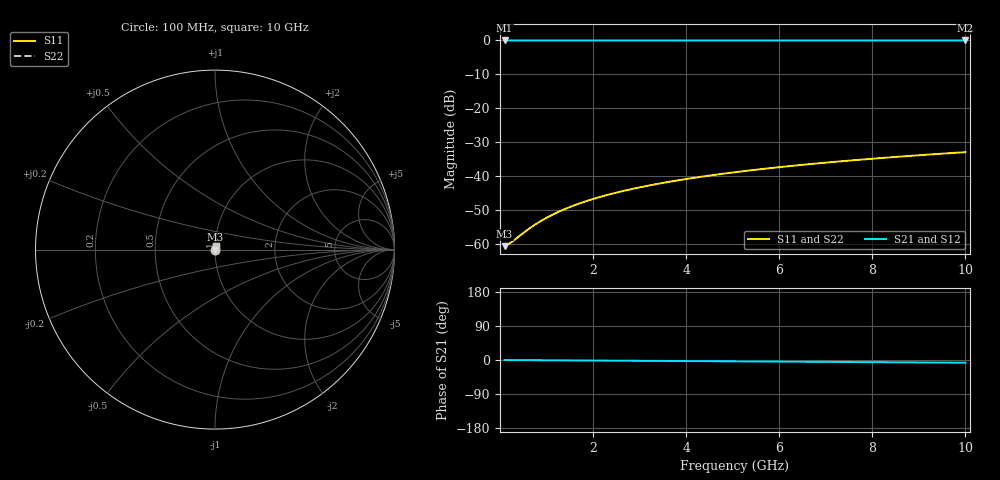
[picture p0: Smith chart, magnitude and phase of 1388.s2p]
# Hz S RI R 50.00
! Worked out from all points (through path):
!   100 points, 100 MHz to 10 GHz, reference 50 ohm
!   highest |S21| = -0.01 dB at 100 MHz (marker M1); lowest = 0.0 dB at 10 GHz (marker M2)
!   lowest |S11| = -60.5 dB at 100 MHz (marker M3), VSWR 1.00, Z = 50.1 + j0.0227 ohm
!   |S11| at or under -10 dB: start of sweep to end of sweep
!   |S22| runs from -60.5 to -32.9 dB; largest |S21 - S12| = 0
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1e8  0.000914 0.000227  0.9991 -0.00124  0.9991 -0.00124  0.000914 0.000227
2e8  0.000921 0.000453  0.9991 -0.00247  0.9991 -0.00247  0.000921 0.000453
3e8  0.000926 0.00068  0.9991 -0.00371  0.9991 -0.00371  0.000926 0.00068
6e8  0.000942 0.00136  0.999 -0.00741  0.999 -0.00741  0.000942 0.00136
7e8  0.000947 0.00159  0.999 -0.00865  0.999 -0.00865  0.000947 0.00159
8e8  0.000954 0.00181  0.999 -0.00988  0.999 -0.00988  0.000954 0.00181
1e9  0.000967 0.00227  0.999 -0.0124  0.999 -0.0124  0.000967 0.00227
1.2e9  0.000982 0.00272  0.9989 -0.0148  0.9989 -0.0148  0.000982 0.00272
1.4e9  0.000999 0.00317  0.9989 -0.0173  0.9989 -0.0173  0.000999 0.00317
1.6e9  0.00102 0.00362  0.9988 -0.0198  0.9988 -0.0198  0.00102 0.00362
1.8e9  0.00104 0.00408  0.9988 -0.0222  0.9988 -0.0222  0.00104 0.00408
2.1e9  0.00107 0.00475  0.9987 -0.0259  0.9987 -0.0259  0.00107 0.00475
2.5e9  0.00113 0.00566  0.9985 -0.0309  0.9985 -0.0309  0.00113 0.00566
2.9e9  0.00119 0.00656  0.9983 -0.0358  0.9983 -0.0358  0.00119 0.00656
3.4e9  0.00128 0.00769  0.9981 -0.042  0.9981 -0.042  0.00128 0.00769
4.2e9  0.00146 0.00949  0.9976 -0.0519  0.9976 -0.0519  0.00146 0.00949
5.1e9  0.0017 0.0115  0.9969 -0.063  0.9969 -0.063  0.0017 0.0115
5.9e9  0.00195 0.0133  0.9962 -0.0729  0.9962 -0.0729  0.00195 0.0133
6.7e9  0.00224 0.0151  0.9954 -0.0828  0.9954 -0.0828  0.00224 0.0151
7.5e9  0.00256 0.0169  0.9945 -0.0927  0.9945 -0.0927  0.00256 0.0169
8.4e9  0.00296 0.0189  0.9933 -0.1038  0.9933 -0.1038  0.00296 0.0189
1e10  0.0038 0.0224  0.991 -0.1236  0.991 -0.1236  0.0038 0.0224
